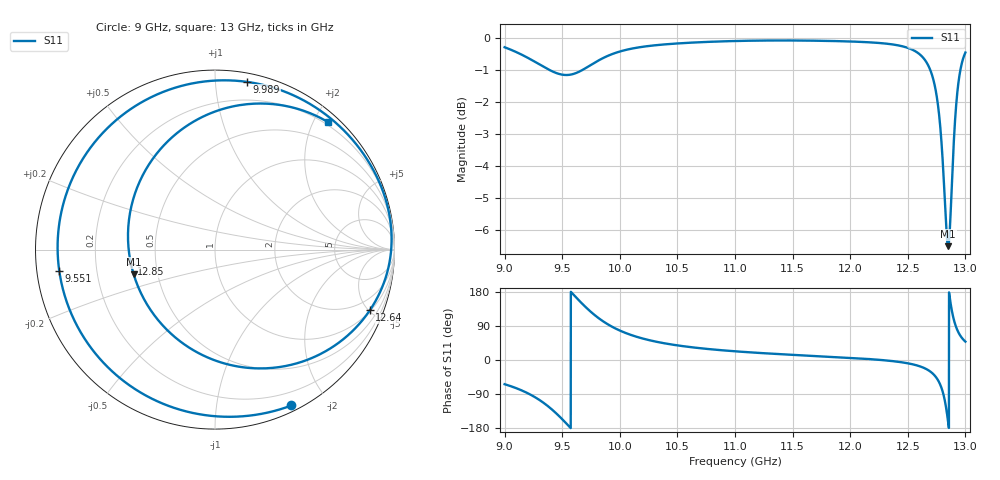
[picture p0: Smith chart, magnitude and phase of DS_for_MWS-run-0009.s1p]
! TOUCHSTONE file generated by CST DESIGN STUDIO
! Date and time: Tue Feb  4 14:17:35 2025
! Project name: C:\Work\MatlabApps\UnitCellOptimizationMatlab\CST\unitcell.cst
! Tree item: Tasks\Sweep1\SPara1\S-Parameters
! Header version: 2024
! Port assignment regex: !\s*Touchstone port\s*([0-9]+)\s*=\s*(CST MWS port|CST DES external port|CST DES block port)\s*(.+)\s* \(\"(.*)\"\)(\s*mode\s*([0-9]+))?.*
! Touchstone port assignment:
! Touchstone port 1 = CST DES external port 1 ("")
# GHz S MA R 50
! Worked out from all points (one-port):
!   4001 points, 9 GHz to 13 GHz, reference 50 ohm
!   lowest |S11| = -6.5 dB at 12.85 GHz (marker M1), VSWR 2.80, Z = 18.2 - j6.42 ohm
!   |S11| at or under -10 dB: nowhere
!   S11 on the Smith chart (normalised r, x): 9 GHz: 0.06, -1.60; 9.551 GHz: 0.07, -0.07; 9.989 GHz: 0.06, +1.21; 12.64 GHz: 1.06, -5.08; 12.85 GHz: 0.36, -0.08; 13 GHz: 0.15, +2.21
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9  0.9673 -63.9
9.149  0.9418 -80.3
9.3  0.9101 -105.0
9.402  0.8892 -128.3
9.5  0.8767 -156.2
9.551  0.8758 -172.3
9.647  0.8861 156.8
9.765  0.9115 122.8
9.865  0.9324 100.1
9.989  0.9513 79.3
10  0.9526 77.7
10.214  0.9698 55.4
10.5  0.9806 38.6
11  0.9892 23.0
11.5  0.9911 13.6
12  0.9875 5.6
12.5  0.9652 -8.7
12.644  0.9266 -21.4
12.731  0.8479 -40.2
12.762  0.7859 -53.2
12.791  0.6936 -72.3
12.821  0.5596 -106.4
12.85  0.4737 -163.2
12.853  0.4749 -170.1
12.878  0.5663 137.6
12.913  0.7566 92.6
12.957  0.8926 63.7
13  0.949 48.5
